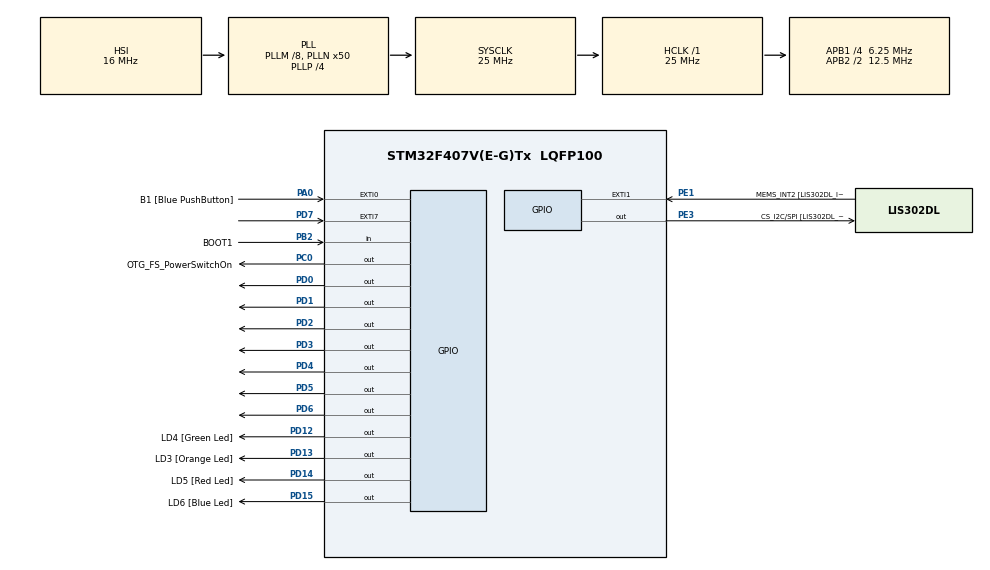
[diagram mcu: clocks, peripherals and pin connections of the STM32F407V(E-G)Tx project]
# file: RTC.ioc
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Mcu.Family=STM32F4
Mcu.Name=STM32F407V(E-G)Tx
Mcu.Package=LQFP100
NVIC.EXTI9_5_IRQn=true\:0\:0\:false\:false\:true\:true\:true
NVIC.PriorityGroup=NVIC_PRIORITYGROUP_0
PA0-WKUP.GPIO_Label=B1 [Blue PushButton]
PA0-WKUP.Signal=GPXTI0
PA10.GPIO_Label=OTG_FS_ID
PA10.GPIO_Mode=GPIO_MODE_AF_PP
PA10.GPIO_PuPd=GPIO_NOPULL
PA10.GPIO_Speed=GPIO_SPEED_FREQ_LOW
PA10.Signal=USB_OTG_FS_ID
PA11.GPIO_Label=OTG_FS_DM
PA11.GPIO_Mode=GPIO_MODE_AF_PP
PA11.GPIO_PuPd=GPIO_NOPULL
PA11.GPIO_Speed=GPIO_SPEED_FREQ_LOW
PA11.Signal=USB_OTG_FS_DM
PA12.GPIO_Label=OTG_FS_DP
PA12.GPIO_Mode=GPIO_MODE_AF_PP
PA12.GPIO_PuPd=GPIO_NOPULL
PA12.GPIO_Speed=GPIO_SPEED_FREQ_LOW
PA12.Signal=USB_OTG_FS_DP
PA13.GPIO_Label=SWDIO
PA13.Signal=SYS_JTMS-SWDIO
PA14.GPIO_Label=SWCLK
PA14.Signal=SYS_JTCK-SWCLK
PA4.GPIO_Label=I2S3_WS [CS43L22_LRCK]
PA4.GPIO_Mode=GPIO_MODE_AF_PP
PA4.GPIO_PuPd=GPIO_NOPULL
PA4.GPIO_Speed=GPIO_SPEED_FREQ_LOW
PA4.Signal=I2S3_WS
PA5.GPIO_Label=SPI1_SCK [LIS302DL_SCL/SPC]
PA5.GPIO_Mode=GPIO_MODE_AF_PP
PA5.GPIO_PuPd=GPIO_NOPULL
PA5.GPIO_Speed=GPIO_SPEED_FREQ_LOW
PA5.Signal=SPI1_SCK
PA6.GPIO_Label=SPI1_MISO [LIS302DL_SDO]
PA6.GPIO_Mode=GPIO_MODE_AF_PP
PA6.GPIO_PuPd=GPIO_NOPULL
PA6.GPIO_Speed=GPIO_SPEED_FREQ_LOW
PA6.Signal=SPI1_MISO
PA7.GPIO_Label=SPI1_MOSI [LIS302DL_SDA/SDI/SDO]
PA7.GPIO_Mode=GPIO_MODE_AF_PP
PA7.GPIO_PuPd=GPIO_NOPULL
PA7.GPIO_Speed=GPIO_SPEED_FREQ_LOW
PA7.Signal=SPI1_MOSI
PA9.GPIO_Label=VBUS_FS
PA9.GPIO_Mode=GPIO_MODE_INPUT
PA9.GPIO_PuPd=GPIO_NOPULL
PA9.Signal=USB_OTG_FS_VBUS
PB10.GPIO_Label=CLK_IN [MP45DT02_CLK]
PB10.GPIO_Mode=GPIO_MODE_AF_PP
PB10.GPIO_PuPd=GPIO_NOPULL
PB10.GPIO_Speed=GPIO_SPEED_FREQ_LOW
PB10.Signal=I2S2_CK
PB2.GPIO_Label=BOOT1
PB2.GPIO_Mode=GPIO_MODE_INPUT
PB2.GPIO_PuPd=GPIO_NOPULL
PB2.Signal=GPIO_Input
PB3.GPIO_Label=SWO
PB3.Signal=SYS_JTDO-SWO
PB6.GPIO_Label=Audio_SCL [CS43L22_SCL]
PB6.GPIO_Mode=GPIO_MODE_AF_OD
PB6.GPIO_PuPd=GPIO_NOPULL
PB6.GPIO_Speed=GPIO_SPEED_FREQ_LOW
PB6.Signal=I2C1_SCL
PB9.GPIO_Label=Audio_SDA [CS43L22_SDA]
PB9.GPIO_Mode=GPIO_MODE_AF_OD
PB9.GPIO_PuPd=GPIO_NOPULL
PB9.GPIO_Speed=GPIO_SPEED_FREQ_LOW
PB9.Signal=I2C1_SDA
PC0.GPIO_Label=OTG_FS_PowerSwitchOn
PC0.GPIO_PuPd=GPIO_NOPULL
PC0.GPIO_Speed=GPIO_SPEED_FREQ_LOW
PC0.PinState=GPIO_PIN_SET
PC0.Signal=GPIO_Output
PC10.GPIO_Label=I2S3_SCK [CS43L22_SCLK]
PC10.GPIO_Mode=GPIO_MODE_AF_PP
PC10.GPIO_PuPd=GPIO_NOPULL
PC10.GPIO_Speed=GPIO_SPEED_FREQ_LOW
PC10.Signal=I2S3_CK
PC12.GPIO_Label=I2S3_SD [CS43L22_SDIN]
PC12.GPIO_Mode=GPIO_MODE_AF_PP
PC12.GPIO_PuPd=GPIO_NOPULL
PC12.GPIO_Speed=GPIO_SPEED_FREQ_LOW
PC12.Signal=I2S3_SD
PC14-OSC32_IN.GPIO_Label=PC14-OSC32_IN
PC14-OSC32_IN.Signal=RCC_OSC32_IN
PC15-OSC32_OUT.GPIO_Label=PC15-OSC32_OUT
PC15-OSC32_OUT.Signal=RCC_OSC32_OUT
PC3.GPIO_Label=PDM_OUT [MP45DT02_DOUT]
PC3.GPIO_Mode=GPIO_MODE_AF_PP
PC3.GPIO_PuPd=GPIO_NOPULL
PC3.GPIO_Speed=GPIO_SPEED_FREQ_LOW
PC3.Signal=I2S2_SD
PC7.GPIO_Label=I2S3_MCK [CS43L22_MCLK]
PC7.GPIO_Mode=GPIO_MODE_AF_PP
PC7.GPIO_PuPd=GPIO_NOPULL
PC7.GPIO_Speed=GPIO_SPEED_FREQ_LOW
PC7.Signal=I2S3_MCK
PD0.Signal=GPIO_Output
PD1.Signal=GPIO_Output
PD12.GPIO_Label=LD4 [Green Led]
PD12.GPIO_PuPd=GPIO_NOPULL
PD12.GPIO_Speed=GPIO_SPEED_FREQ_LOW
PD12.Signal=GPIO_Output
PD13.GPIO_Label=LD3 [Orange Led]
PD13.GPIO_PuPd=GPIO_NOPULL
PD13.GPIO_Speed=GPIO_SPEED_FREQ_LOW
PD13.Signal=GPIO_Output
PD14.GPIO_Label=LD5 [Red Led]
PD14.GPIO_PuPd=GPIO_NOPULL
PD14.GPIO_Speed=GPIO_SPEED_FREQ_LOW
PD14.Signal=GPIO_Output
PD15.GPIO_Label=LD6 [Blue Led]
PD15.GPIO_PuPd=GPIO_NOPULL
PD15.GPIO_Speed=GPIO_SPEED_FREQ_LOW
PD15.Signal=GPIO_Output
PD2.Signal=GPIO_Output
PD3.Signal=GPIO_Output
PD4.Signal=GPIO_Output
PD5.Signal=GPIO_Output
PD6.Signal=GPIO_Output
PD7.GPIO_ModeDefaultEXTI=GPIO_MODE_IT_FALLING
PD7.Signal=GPXTI7
PE1.GPIO_Label=MEMS_INT2 [LIS302DL_INT2]
PE1.GPIO_ModeDefaultEXTI=GPIO_MODE_EVT_RISING
PE1.GPIO_PuPd=GPIO_NOPULL
PE1.Signal=GPXTI1
PE3.GPIO_Label=CS_I2C/SPI [LIS302DL_CS_I2C/SPI]
PE3.GPIO_PuPd=GPIO_NOPULL
PE3.GPIO_Speed=GPIO_SPEED_FREQ_LOW
PE3.Signal=GPIO_Output
PH0-OSC_IN.GPIO_Label=PH0-OSC_IN
PH0-OSC_IN.Mode=HSE-External-Oscillator
PH0-OSC_IN.Signal=RCC_OSC_IN
PH1-OSC_OUT.GPIO_Label=PH1-OSC_OUT
PH1-OSC_OUT.Mode=HSE-External-Oscillator
PH1-OSC_OUT.Signal=RCC_OSC_OUT
ProjectManager.HeapSize=0x200
ProjectManager.StackSize=0x400
ProjectManager.TargetToolchain=STM32CubeIDE
RCC.48MHZClocksFreq_Value=14285714.285714285
RCC.AHBFreq_Value=25000000
RCC.APB1CLKDivider=RCC_HCLK_DIV4
RCC.APB1Freq_Value=6250000
RCC.APB1TimFreq_Value=12500000
RCC.APB2CLKDivider=RCC_HCLK_DIV2
RCC.APB2Freq_Value=12500000
RCC.APB2TimFreq_Value=25000000
RCC.CortexFreq_Value=25000000
RCC.HCLKFreq_Value=25000000
RCC.HSE_VALUE=8000000
RCC.HSI_VALUE=16000000
RCC.LSE_VALUE=32768
RCC.PLLM=8
RCC.PLLN=50
RCC.PLLP=RCC_PLLP_DIV4
RCC.PLLQ=7
RCC.SYSCLKFreq_VALUE=25000000
RCC.SYSCLKSource=RCC_SYSCLKSOURCE_PLLCLK
RCC.VCOOutputFreq_Value=100000000
RTC.Format=RTC_FORMAT_BIN
VP_RTC_VS_RTC_Activate.Mode=RTC_Enabled
VP_RTC_VS_RTC_Calendar.Mode=RTC_Calendar
board=STM32F407G-DISC1

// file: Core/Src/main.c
/* USER CODE BEGIN Header */
/**
  ******************************************************************************
  * @file           : main.c
  * @brief          : Main program body
  ******************************************************************************
  * @attention
  *
  * Codigo de usuario en lineas:
  * 50-54, 62-63, 68-81, 114, 124-134, 398-406
  *
  * <h2><center>&copy; Copyright (c) 2020 STMicroelectronics.
  * All rights reserved.</center></h2>
  *
  * This software component is licensed by ST under BSD 3-Clause license,
  * the "License"; You may not use this file except in compliance with the
  * License. You may obtain a copy of the License at:
  *                        opensource.org/licenses/BSD-3-Clause
  *
  ******************************************************************************
  */
/* USER CODE END Header */
#include "main.h"

/* USER CODE BEGIN Includes */
#include "stm32f4xx.h"

/* USER CODE END Includes */

RTC_HandleTypeDef hrtc;

/* USER CODE BEGIN PV */
int D[6]={0, 16, 48, 64, 96, 112}, cronometro [6], hold=0;
RTC_TimeTypeDef aTime1;
RTC_DateTypeDef aDate1;
/* USER CODE END PV */

void SystemClock_Config(void);
static void MX_GPIO_Init(void);
static void MX_RTC_Init(void);
/* USER CODE BEGIN PFP */

void displayNumber(RTC_TimeTypeDef);
void setDisplay(int[]);
/* USER CODE END PFP */

/* USER CODE BEGIN 0 */

void displayNumber(RTC_TimeTypeDef tiempo){
		cronometro[0] = (tiempo.Hours / 16);
		cronometro[1] = (tiempo.Hours % 16);
		cronometro[2] = (tiempo.Minutes / 16);
		cronometro[3] = (tiempo.Minutes % 16);
		cronometro[4] = (tiempo.Seconds / 16);
		cronometro[5] = (tiempo.Seconds % 16);
}
void setDisplay(int numeros[]){
	for(int i=0; i<6; i++){
		GPIOD->ODR=numeros[i]+D[i];
		HAL_Delay(1);
	}
}
/* USER CODE END 0 */

int main(void)
{

  /* MCU Configuration--------------------------------------------------------*/

  /* Reset of all peripherals, Initializes the Flash interface and the Systick. */
  HAL_Init();

  /* Configure the system clock */
  SystemClock_Config();

  /* Initialize all configured peripherals */
  MX_GPIO_Init();
  MX_RTC_Init();
  /* USER CODE BEGIN 2 */
  DBGMCU->APB1FZ |= DBGMCU_APB1_FZ_DBG_RTC_STOP;
  /* USER CODE END 2 */

  /* Infinite loop */
  while (1)
  {

    /* USER CODE BEGIN 3 */
	  if(hold==0){
		  HAL_RTC_GetTime(&hrtc, &aTime1, RTC_FORMAT_BCD);
		  HAL_RTC_GetDate(&hrtc, &aDate1, RTC_FORMAT_BCD);
	  }
	  if(hold==1){
		  HAL_RTC_SetTime(&hrtc, &aTime1, RTC_FORMAT_BCD);
	  }else{
		  displayNumber(aTime1);
	  }
	  setDisplay(cronometro);
  }
  /* USER CODE END 3 */
}

void SystemClock_Config(void)
{
  RCC_OscInitTypeDef RCC_OscInitStruct = {0};
  RCC_ClkInitTypeDef RCC_ClkInitStruct = {0};
  RCC_PeriphCLKInitTypeDef PeriphClkInitStruct = {0};

  /** Configure the main internal regulator output voltage
  */
  __HAL_RCC_PWR_CLK_ENABLE();
  __HAL_PWR_VOLTAGESCALING_CONFIG(PWR_REGULATOR_VOLTAGE_SCALE1);
  /** Initializes the RCC Oscillators according to the specified parameters
  * in the RCC_OscInitTypeDef structure.
  */
  RCC_OscInitStruct.OscillatorType = RCC_OSCILLATORTYPE_HSI|RCC_OSCILLATORTYPE_LSI;
  RCC_OscInitStruct.HSIState = RCC_HSI_ON;
  RCC_OscInitStruct.HSICalibrationValue = RCC_HSICALIBRATION_DEFAULT;
  RCC_OscInitStruct.LSIState = RCC_LSI_ON;
  RCC_OscInitStruct.PLL.PLLState = RCC_PLL_ON;
  RCC_OscInitStruct.PLL.PLLSource = RCC_PLLSOURCE_HSI;
  RCC_OscInitStruct.PLL.PLLM = 8;
  RCC_OscInitStruct.PLL.PLLN = 50;
  RCC_OscInitStruct.PLL.PLLP = RCC_PLLP_DIV4;
  RCC_OscInitStruct.PLL.PLLQ = 7;
  if (HAL_RCC_OscConfig(&RCC_OscInitStruct) != HAL_OK)
  {
    Error_Handler();
  }
  /** Initializes the CPU, AHB and APB buses clocks
  */
  RCC_ClkInitStruct.ClockType = RCC_CLOCKTYPE_HCLK|RCC_CLOCKTYPE_SYSCLK
                              |RCC_CLOCKTYPE_PCLK1|RCC_CLOCKTYPE_PCLK2;
  RCC_ClkInitStruct.SYSCLKSource = RCC_SYSCLKSOURCE_PLLCLK;
  RCC_ClkInitStruct.AHBCLKDivider = RCC_SYSCLK_DIV1;
  RCC_ClkInitStruct.APB1CLKDivider = RCC_HCLK_DIV4;
  RCC_ClkInitStruct.APB2CLKDivider = RCC_HCLK_DIV2;

  if (HAL_RCC_ClockConfig(&RCC_ClkInitStruct, FLASH_LATENCY_0) != HAL_OK)
  {
    Error_Handler();
  }
  PeriphClkInitStruct.PeriphClockSelection = RCC_PERIPHCLK_RTC;
  PeriphClkInitStruct.RTCClockSelection = RCC_RTCCLKSOURCE_LSI;
  if (HAL_RCCEx_PeriphCLKConfig(&PeriphClkInitStruct) != HAL_OK)
  {
    Error_Handler();
  }
}

static void MX_RTC_Init(void)
{

  RTC_TimeTypeDef sTime = {0};
  RTC_DateTypeDef sDate = {0};

  /** Initialize RTC Only
  */
  hrtc.Instance = RTC;
  hrtc.Init.HourFormat = RTC_HOURFORMAT_24;
  hrtc.Init.AsynchPrediv = 127;
  hrtc.Init.SynchPrediv = 255;
  hrtc.Init.OutPut = RTC_OUTPUT_DISABLE;
  hrtc.Init.OutPutPolarity = RTC_OUTPUT_POLARITY_HIGH;
  hrtc.Init.OutPutType = RTC_OUTPUT_TYPE_OPENDRAIN;
  if (HAL_RTC_Init(&hrtc) != HAL_OK)
  {
    Error_Handler();
  }

  /** Initialize RTC and set the Time and Date
  */
  sTime.Hours = 0;
  sTime.Minutes = 0;
  sTime.Seconds = 0;
  sTime.DayLightSaving = RTC_DAYLIGHTSAVING_NONE;
  sTime.StoreOperation = RTC_STOREOPERATION_RESET;
  if (HAL_RTC_SetTime(&hrtc, &sTime, RTC_FORMAT_BIN) != HAL_OK)
  {
    Error_Handler();
  }
  sDate.WeekDay = RTC_WEEKDAY_MONDAY;
  sDate.Month = RTC_MONTH_JANUARY;
  sDate.Date = 1;
  sDate.Year = 0;

  if (HAL_RTC_SetDate(&hrtc, &sDate, RTC_FORMAT_BIN) != HAL_OK)
  {
    Error_Handler();
  }

}

static void MX_GPIO_Init(void)
{
  GPIO_InitTypeDef GPIO_InitStruct = {0};

  /* GPIO Ports Clock Enable */
  __HAL_RCC_GPIOE_CLK_ENABLE();
  __HAL_RCC_GPIOC_CLK_ENABLE();
  __HAL_RCC_GPIOH_CLK_ENABLE();
  __HAL_RCC_GPIOA_CLK_ENABLE();
  __HAL_RCC_GPIOB_CLK_ENABLE();
  __HAL_RCC_GPIOD_CLK_ENABLE();

  /*Configure GPIO pin Output Level */
  HAL_GPIO_WritePin(CS_I2C_SPI_GPIO_Port, CS_I2C_SPI_Pin, GPIO_PIN_RESET);

  /*Configure GPIO pin Output Level */
  HAL_GPIO_WritePin(OTG_FS_PowerSwitchOn_GPIO_Port, OTG_FS_PowerSwitchOn_Pin, GPIO_PIN_SET);

  /*Configure GPIO pin Output Level */
  HAL_GPIO_WritePin(GPIOD, LD4_Pin|LD3_Pin|LD5_Pin|LD6_Pin
                          |GPIO_PIN_0|GPIO_PIN_1|GPIO_PIN_2|GPIO_PIN_3
                          |GPIO_PIN_4|GPIO_PIN_5|GPIO_PIN_6, GPIO_PIN_RESET);

  /*Configure GPIO pin : CS_I2C_SPI_Pin */
  GPIO_InitStruct.Pin = CS_I2C_SPI_Pin;
  GPIO_InitStruct.Mode = GPIO_MODE_OUTPUT_PP;
  GPIO_InitStruct.Pull = GPIO_NOPULL;
  GPIO_InitStruct.Speed = GPIO_SPEED_FREQ_LOW;
  HAL_GPIO_Init(CS_I2C_SPI_GPIO_Port, &GPIO_InitStruct);

  /*Configure GPIO pin : OTG_FS_PowerSwitchOn_Pin */
  GPIO_InitStruct.Pin = OTG_FS_PowerSwitchOn_Pin;
  GPIO_InitStruct.Mode = GPIO_MODE_OUTPUT_PP;
  GPIO_InitStruct.Pull = GPIO_NOPULL;
  GPIO_InitStruct.Speed = GPIO_SPEED_FREQ_LOW;
  HAL_GPIO_Init(OTG_FS_PowerSwitchOn_GPIO_Port, &GPIO_InitStruct);

  /*Configure GPIO pin : PDM_OUT_Pin */
  GPIO_InitStruct.Pin = PDM_OUT_Pin;
  GPIO_InitStruct.Mode = GPIO_MODE_AF_PP;
  GPIO_InitStruct.Pull = GPIO_NOPULL;
  GPIO_InitStruct.Speed = GPIO_SPEED_FREQ_LOW;
  GPIO_InitStruct.Alternate = GPIO_AF5_SPI2;
  HAL_GPIO_Init(PDM_OUT_GPIO_Port, &GPIO_InitStruct);

  /*Configure GPIO pin : B1_Pin */
  GPIO_InitStruct.Pin = B1_Pin;
  GPIO_InitStruct.Mode = GPIO_MODE_IT_RISING;
  GPIO_InitStruct.Pull = GPIO_NOPULL;
  HAL_GPIO_Init(B1_GPIO_Port, &GPIO_InitStruct);

  /*Configure GPIO pin : I2S3_WS_Pin */
  GPIO_InitStruct.Pin = I2S3_WS_Pin;
  GPIO_InitStruct.Mode = GPIO_MODE_AF_PP;
  GPIO_InitStruct.Pull = GPIO_NOPULL;
  GPIO_InitStruct.Speed = GPIO_SPEED_FREQ_LOW;
  GPIO_InitStruct.Alternate = GPIO_AF6_SPI3;
  HAL_GPIO_Init(I2S3_WS_GPIO_Port, &GPIO_InitStruct);

  /*Configure GPIO pins : SPI1_SCK_Pin SPI1_MISO_Pin SPI1_MOSI_Pin */
  GPIO_InitStruct.Pin = SPI1_SCK_Pin|SPI1_MISO_Pin|SPI1_MOSI_Pin;
  GPIO_InitStruct.Mode = GPIO_MODE_AF_PP;
  GPIO_InitStruct.Pull = GPIO_NOPULL;
  GPIO_InitStruct.Speed = GPIO_SPEED_FREQ_LOW;
  GPIO_InitStruct.Alternate = GPIO_AF5_SPI1;
  HAL_GPIO_Init(GPIOA, &GPIO_InitStruct);

  /*Configure GPIO pin : BOOT1_Pin */
  GPIO_InitStruct.Pin = BOOT1_Pin;
  GPIO_InitStruct.Mode = GPIO_MODE_INPUT;
  GPIO_InitStruct.Pull = GPIO_NOPULL;
  HAL_GPIO_Init(BOOT1_GPIO_Port, &GPIO_InitStruct);

  /*Configure GPIO pin : CLK_IN_Pin */
  GPIO_InitStruct.Pin = CLK_IN_Pin;
  GPIO_InitStruct.Mode = GPIO_MODE_AF_PP;
  GPIO_InitStruct.Pull = GPIO_NOPULL;
  GPIO_InitStruct.Speed = GPIO_SPEED_FREQ_LOW;
  GPIO_InitStruct.Alternate = GPIO_AF5_SPI2;
  HAL_GPIO_Init(CLK_IN_GPIO_Port, &GPIO_InitStruct);

  /*Configure GPIO pins : LD4_Pin LD3_Pin LD5_Pin LD6_Pin
                           PD0 PD1 PD2 PD3
                           PD4 PD5 PD6 */
  GPIO_InitStruct.Pin = LD4_Pin|LD3_Pin|LD5_Pin|LD6_Pin
                          |GPIO_PIN_0|GPIO_PIN_1|GPIO_PIN_2|GPIO_PIN_3
                          |GPIO_PIN_4|GPIO_PIN_5|GPIO_PIN_6;
  GPIO_InitStruct.Mode = GPIO_MODE_OUTPUT_PP;
  GPIO_InitStruct.Pull = GPIO_NOPULL;
  GPIO_InitStruct.Speed = GPIO_SPEED_FREQ_LOW;
  HAL_GPIO_Init(GPIOD, &GPIO_InitStruct);

  /*Configure GPIO pins : I2S3_MCK_Pin I2S3_SCK_Pin I2S3_SD_Pin */
  GPIO_InitStruct.Pin = I2S3_MCK_Pin|I2S3_SCK_Pin|I2S3_SD_Pin;
  GPIO_InitStruct.Mode = GPIO_MODE_AF_PP;
  GPIO_InitStruct.Pull = GPIO_NOPULL;
  GPIO_InitStruct.Speed = GPIO_SPEED_FREQ_LOW;
  GPIO_InitStruct.Alternate = GPIO_AF6_SPI3;
  HAL_GPIO_Init(GPIOC, &GPIO_InitStruct);

  /*Configure GPIO pin : VBUS_FS_Pin */
  GPIO_InitStruct.Pin = VBUS_FS_Pin;
  GPIO_InitStruct.Mode = GPIO_MODE_INPUT;
  GPIO_InitStruct.Pull = GPIO_NOPULL;
  HAL_GPIO_Init(VBUS_FS_GPIO_Port, &GPIO_InitStruct);

  /*Configure GPIO pins : OTG_FS_ID_Pin OTG_FS_DM_Pin OTG_FS_DP_Pin */
  GPIO_InitStruct.Pin = OTG_FS_ID_Pin|OTG_FS_DM_Pin|OTG_FS_DP_Pin;
  GPIO_InitStruct.Mode = GPIO_MODE_AF_PP;
  GPIO_InitStruct.Pull = GPIO_NOPULL;
  GPIO_InitStruct.Speed = GPIO_SPEED_FREQ_LOW;
  GPIO_InitStruct.Alternate = GPIO_AF10_OTG_FS;
  HAL_GPIO_Init(GPIOA, &GPIO_InitStruct);

  /*Configure GPIO pin : PD7 */
  GPIO_InitStruct.Pin = GPIO_PIN_7;
  GPIO_InitStruct.Mode = GPIO_MODE_IT_FALLING;
  GPIO_InitStruct.Pull = GPIO_NOPULL;
  HAL_GPIO_Init(GPIOD, &GPIO_InitStruct);

  /*Configure GPIO pins : Audio_SCL_Pin Audio_SDA_Pin */
  GPIO_InitStruct.Pin = Audio_SCL_Pin|Audio_SDA_Pin;
  GPIO_InitStruct.Mode = GPIO_MODE_AF_OD;
  GPIO_InitStruct.Pull = GPIO_PULLUP;
  GPIO_InitStruct.Speed = GPIO_SPEED_FREQ_LOW;
  GPIO_InitStruct.Alternate = GPIO_AF4_I2C1;
  HAL_GPIO_Init(GPIOB, &GPIO_InitStruct);

  /*Configure GPIO pin : MEMS_INT2_Pin */
  GPIO_InitStruct.Pin = MEMS_INT2_Pin;
  GPIO_InitStruct.Mode = GPIO_MODE_EVT_RISING;
  GPIO_InitStruct.Pull = GPIO_NOPULL;
  HAL_GPIO_Init(MEMS_INT2_GPIO_Port, &GPIO_InitStruct);

  /* EXTI interrupt init*/
  HAL_NVIC_SetPriority(EXTI9_5_IRQn, 0, 0);
  HAL_NVIC_EnableIRQ(EXTI9_5_IRQn);

}

/* USER CODE BEGIN 4 */

void HAL_GPIO_EXTI_Callback(uint16_t GPIO_Pin){
    if(GPIO_Pin == GPIO_PIN_7){
    	if(hold==0){
    		hold=1;
    	}else{
    		hold=0;
    	}
    }
}

/* USER CODE END 4 */

void Error_Handler(void)
{
}

/************************ (C) COPYRIGHT STMicroelectronics *****END OF FILE****/
